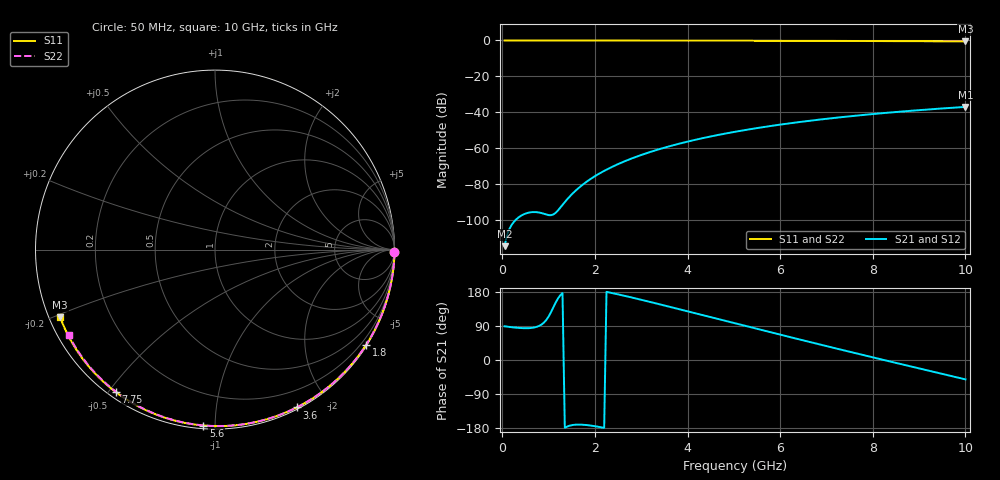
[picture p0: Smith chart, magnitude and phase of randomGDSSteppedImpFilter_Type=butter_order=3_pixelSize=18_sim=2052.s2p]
! freq	dB(S11)	phase(S11)	dB(S12)	phase(S12)
!  dB(S21)	phase(S21)	dB(S22)	phase(S22)
!S-par simulation data
#  GHz  S  DB  R 50
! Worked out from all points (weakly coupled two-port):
!   200 points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, 50 MHz to 10 GHz, reference 50 ohm
!   highest |S21| = -36.95 dB at 10 GHz (marker M1); lowest = -114.4 dB at 50 MHz (marker M2)
!   lowest |S11| = -0.5 dB at 10 GHz (marker M3), VSWR 33.21, Z = 1.57 - j10.4 ohm
!   |S11| at or under -10 dB: nowhere
!   |S22| runs from -0.5 to 0.0 dB; largest |S21 - S12| = 0
!   S11 on the Smith chart (normalised r, x): 50 MHz: open; 1.8 GHz: 0.03, -3.47; 3.6 GHz: 0.02, -1.64; 5.6 GHz: 0.02, -0.94; 7.75 GHz: 0.02, -0.52; 10 GHz: 0.03, -0.21
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0.05  -0.00 -0.9  -114.37 89.0  -114.37 89.0  -0.00 -0.9
0.45  -0.01 -8.2  -96.80 84.0  -96.80 84.0  -0.01 -7.8
0.9  -0.02 -16.3  -96.38 98.8  -96.38 98.8  -0.02 -15.5
1.3  -0.03 -23.4  -91.44 176.6  -91.44 176.6  -0.03 -22.3
1.75  -0.04 -31.3  -79.89 -170.9  -79.89 -170.9  -0.04 -29.9
1.8  -0.04 -32.2  -78.92 -171.4  -78.92 -171.4  -0.04 -30.8
1.95  -0.04 -34.8  -76.27 -173.7  -76.27 -173.7  -0.04 -33.3
2.1  -0.05 -37.4  -73.93 -176.7  -73.93 -176.7  -0.05 -35.7
2.3  -0.05 -40.8  -71.17 178.5  -71.17 178.5  -0.05 -39.0
2.5  -0.06 -44.3  -68.74 173.3  -68.74 173.3  -0.05 -42.3
2.9  -0.07 -51.0  -64.59 161.9  -64.59 161.9  -0.06 -48.8
3.4  -0.08 -59.3  -60.36 146.9  -60.36 146.9  -0.08 -56.8
3.6  -0.08 -62.6  -58.89 140.8  -58.89 140.8  -0.08 -59.9
4.3  -0.11 -73.9  -54.47 119.2  -54.47 119.2  -0.10 -70.7
5.05  -0.13 -85.5  -50.66 96.1  -50.66 96.1  -0.13 -81.9
5.6  -0.16 -93.8  -48.31 79.1  -48.31 79.1  -0.15 -89.9
6.15  -0.18 -101.9  -46.26 62.3  -46.26 62.3  -0.17 -97.7
6.7  -0.21 -109.9  -44.45 45.7  -44.45 45.7  -0.21 -105.4
7.75  -0.29 -124.8  -41.53 14.4  -41.53 14.4  -0.28 -119.6
8.35  -0.34 -133.2  -40.11 -3.3  -40.11 -3.3  -0.33 -127.6
9.2  -0.43 -145.1  -38.36 -28.0  -38.36 -28.0  -0.41 -138.9
10  -0.52 -156.4  -36.95 -51.1  -36.95 -51.1  -0.50 -149.7
